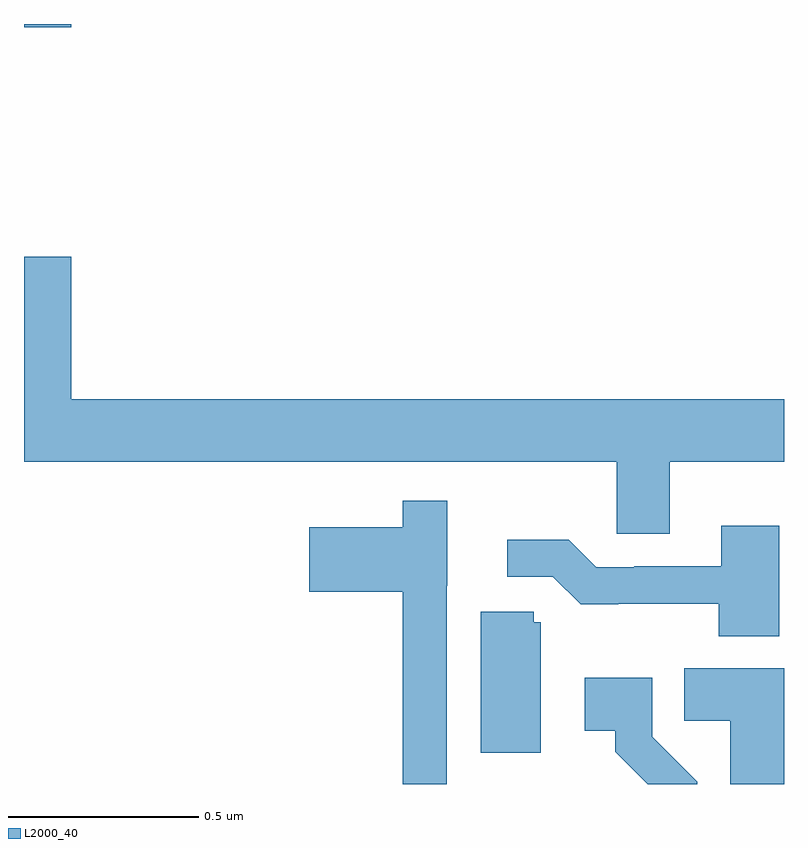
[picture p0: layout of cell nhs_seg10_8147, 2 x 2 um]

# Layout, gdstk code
import gdstk
lib = gdstk.Library(unit=1e-6, precision=1e-09)
def R(c, l, rs):  # rectangles x0, y0, x1, y1
    for r in rs: c.add(gdstk.rectangle(r[:2], r[2:], *l))
def P(c, l, *ps):  # polygons
    for p in ps: c.add(gdstk.Polygon(p, *l))
L2000_40 = (2000, 40)

nhs_seg10_8147 = lib.new_cell('nhs_seg10_8147')
R(nhs_seg10_8147, L2000_40, [(213,1269.492,213.124,1269.5)])
P(nhs_seg10_8147, L2000_40, [(214.699,1268.348),(215,1268.348),(215,1268.512),(213.124,1268.512),(213.124,1268.887),(213,1268.887),(213,1268.348),(214.56,1268.348),(214.56,1268.158),(214.699,1268.158)],
  [(214.113,1268.022),(214.114,1268.022),(214.114,1268.245),(213.997,1268.245),(213.997,1268.176),(213.75,1268.176),(213.75,1268.006),(213.997,1268.006),(213.997,1267.5),(214.113,1267.5)],
  [(214.988,1268.179),(214.835,1268.179),(214.835,1268.073),(214.606,1268.073),(214.606,1268.07),(214.506,1268.07),(214.433,1268.143),(214.272,1268.143),(214.272,1268.046),(214.392,1268.046),(214.465,1267.973),(214.564,1267.973),(214.564,1267.974),(214.828,1267.974),(214.828,1267.889),(214.988,1267.889)],
  [(214.36,1267.926),(214.341,1267.926),(214.341,1267.953),(214.202,1267.953),(214.202,1267.582),(214.36,1267.582)],
  [(215,1267.804),(214.738,1267.804),(214.738,1267.666),(214.859,1267.666),(214.859,1267.5),(215,1267.5)],
  [(214.772,1267.506),(214.653,1267.625),(214.653,1267.78),(214.476,1267.78),(214.476,1267.64),(214.556,1267.64),(214.556,1267.585),(214.642,1267.5),(214.772,1267.5)])

lib.write_gds('nhs_seg10_8147.gds')
